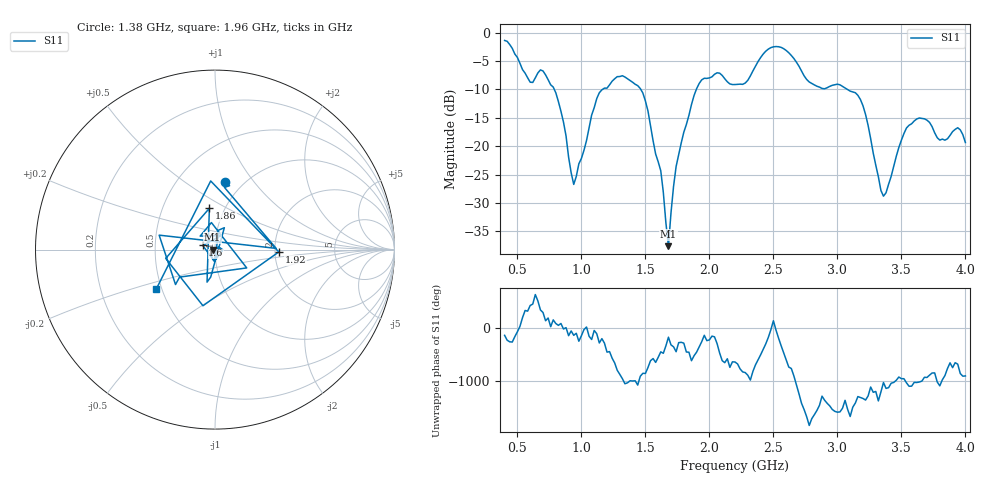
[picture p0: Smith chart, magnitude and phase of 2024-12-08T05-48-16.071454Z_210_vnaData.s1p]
!Created with skrf (http://scikit-rf.org).
# Hz S RI R 50.0
!freq ReS11 ImS11
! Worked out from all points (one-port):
!   181 points, 400 MHz to 4 GHz, reference 50 ohm
!   lowest |S11| = -37.6 dB at 1.68 GHz (marker M1), VSWR 1.03, Z = 48.7 + j0.0408 ohm
!   |S11| at or under -10 dB: 787.8 MHz to 1.166 GHz (378.2 MHz wide, 38.7 % of centre); 1.464 GHz to 1.898 GHz (434.6 MHz wide, 25.9 % of centre); 3.076 GHz to end of sweep
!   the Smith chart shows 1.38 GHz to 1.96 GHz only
!   S11 on the Smith chart (normalised r, x): 1.38 GHz: 0.83, +0.73; 1.6 GHz: 0.87, +0.04; 1.86 GHz: 0.85, +0.41; 1.92 GHz: 2.10, -0.06; 1.96 GHz: 0.47, -0.24
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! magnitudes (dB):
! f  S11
! 400 MHz  -1.4
! 600 MHz  -8.7
! 700 MHz  -6.8
! 860 MHz  -15.8
! 940 MHz  -26.7
! 1.12 GHz  -11.6
! 1.3 GHz  -7.7
! 1.38 GHz  -8.4
! 1.48 GHz  -10.6
! 1.6 GHz  -22.8
! 1.68 GHz  -37.6
! 1.72 GHz  -27.1
! 1.76 GHz  -21.5
! 1.86 GHz  -12.7
! 1.92 GHz  -9.0
! 1.96 GHz  -8.1
! 2.2 GHz  -9.2
! 2.48 GHz  -2.7
! 2.66 GHz  -4.6
! 2.8 GHz  -9.0
! 3.1 GHz  -10.3
! 3.2 GHz  -12.9
! 3.36 GHz  -28.8
! 3.56 GHz  -16.3
! 3.68 GHz  -15.2
! 3.8 GHz  -18.9
! 3.94 GHz  -16.8
! 4 GHz  -19.4
